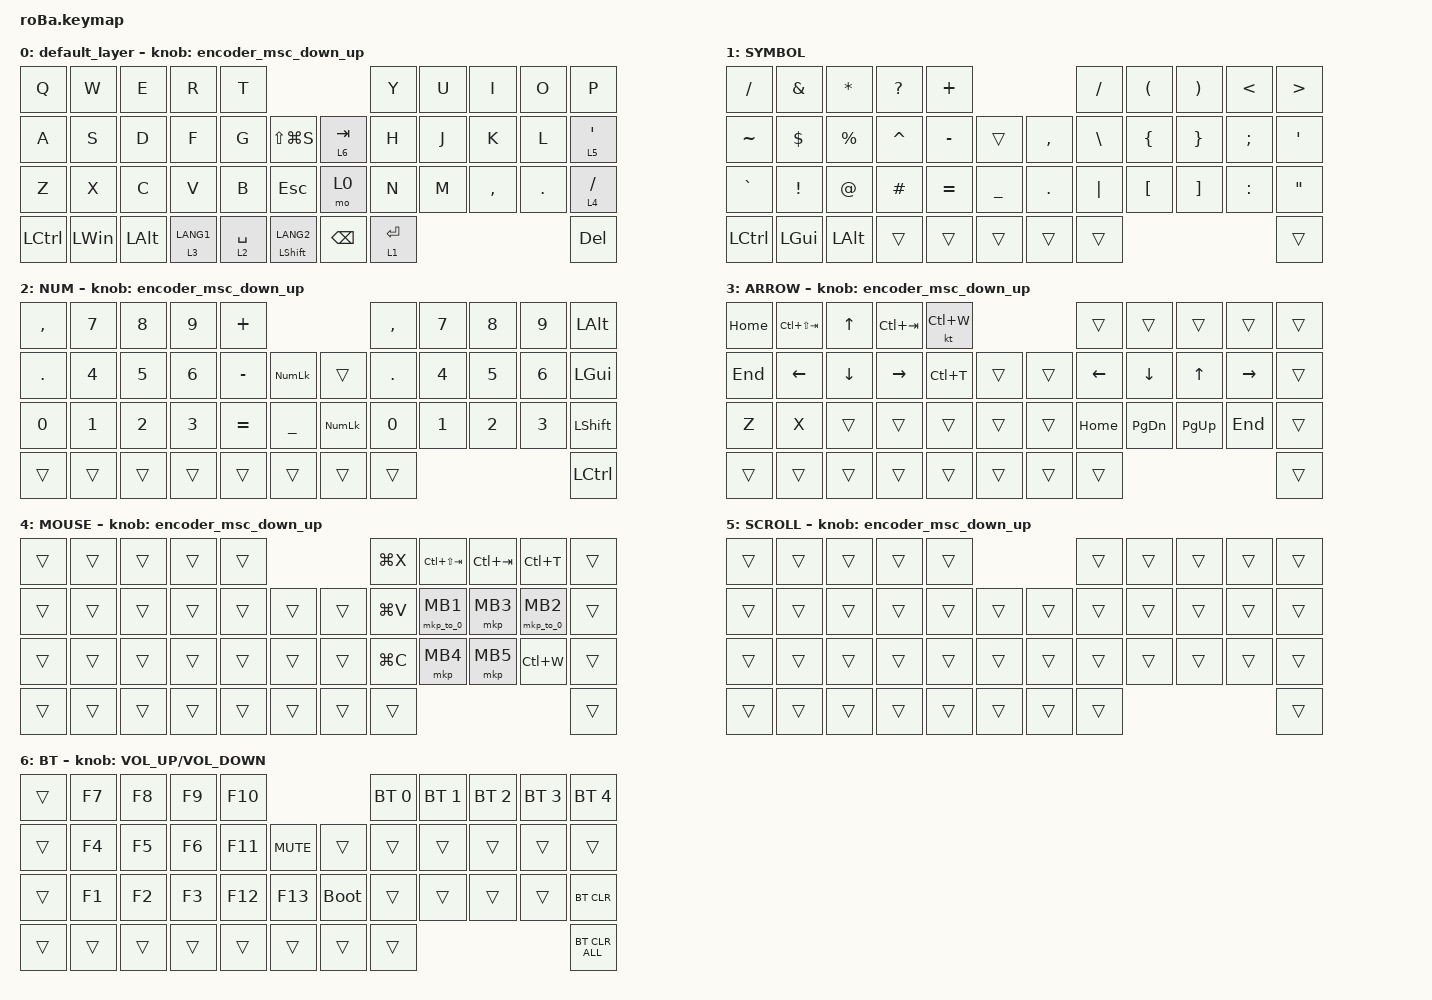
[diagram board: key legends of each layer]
#include <behaviors.dtsi>
#include <dt-bindings/zmk/bt.h>
#include <dt-bindings/zmk/keys.h>
#include <dt-bindings/zmk/pointing.h>

// スクロール量

#define ZMK_POINTING_DEFAULT_SCRL_VAL 80

&mt {
    flavor = "balanced";
    quick-tap-ms = <0>;
};

&trackball {
    automouse-layer = <4>;
    scroll-layers = <5>;

    // arrows {
    //     layers = <3>;
    //     bindings =
    //         <&kp RIGHT_ARROW>,
    //         <&kp LEFT_ARROW>,
    //         <&kp UP_ARROW>,
    //         <&kp DOWN_ARROW>;
    //     tick = <10>;
    //     wait-ms = <5>;
    //     tap-ms = <5>;
    // };
};

/ {
    combos { compatible = "zmk,combos"; };

    macros {
        to_layer_0: to_layer_0 {
            compatible = "zmk,behavior-macro-one-param";
            #binding-cells = <1>;
            bindings = <&to 0 &macro_param_1to1 &kp MACRO_PLACEHOLDER>;
            label = "TO_LAYER_0";
        };

        // マウスボタンを押している間は押し続け、離すとレイヤー0に戻るマクロ

        mkp_to_0: mkp_to_0 {
            compatible = "zmk,behavior-macro-one-param";
            #binding-cells = <1>;
            bindings =
                <&macro_press>,
                <&macro_param_1to1 &mkp MACRO_PLACEHOLDER>,
                <&macro_pause_for_release>,
                <&macro_release>,
                <&macro_param_1to1 &mkp MACRO_PLACEHOLDER>,
                <&macro_tap>,
                <&sl 4>;

            // 離した後にレイヤー0へ

            label = "MOUSE_CLICK_TO_0";
        };
    };

    behaviors {
        lt_to_layer_0: lt_to_layer_0 {
            compatible = "zmk,behavior-hold-tap";
            label = "LAYER_TAP_TO_0";
            bindings = <&mo>, <&to_layer_0>;

            #binding-cells = <2>;
            tapping-term-ms = <200>;
        };

        encoder_msc_down_up: encoder_msc_down_up {
            compatible = "zmk,behavior-sensor-rotate";
            label = "ENCODER_MSC_DOWN_UP";
            #sensor-binding-cells = <0>;
            bindings = <&msc SCRL_DOWN>, <&msc SCRL_UP>;

            tap-ms = <20>;
        };
    };

    keymap {
        compatible = "zmk,keymap";

        default_layer {
            bindings = <
&kp Q      &kp W         &kp E         &kp R                   &kp T                                                        &kp Y        &kp U  &kp I      &kp O    &kp P
&kp A      &kp S         &kp D         &kp F                   &kp G        &kp LS(LG(S))             &lt_to_layer_0 6 TAB  &kp H        &kp J  &kp K      &kp L    &lt_to_layer_0 5 SINGLE_QUOTE
&kp Z      &kp X         &kp C         &kp V                   &kp B        &kp ESC                   &mo 0                 &kp N        &kp M  &kp COMMA  &kp DOT  &lt_to_layer_0 4 SLASH
&kp LCTRL  &kp LEFT_WIN  &kp LEFT_ALT  &lt_to_layer_0 3 LANG1  &lt 2 SPACE  &mt LEFT_SHIFT LANG2      &kp BACKSPACE         &lt 1 ENTER                             &kp DEL
            >;

            sensor-bindings = <&encoder_msc_down_up>;
        };

        SYMBOL {
            bindings = <
&kp SLASH  &kp AMPERSAND    &kp ASTERISK  &kp QUESTION  &kp PLUS                                   &kp SLASH      &kp LEFT_PARENTHESIS  &kp RIGHT_PARENTHESIS  &kp LESS_THAN  &kp GREATER_THAN
&kp TILDE  &kp DOLLAR       &kp PERCENT   &kp CARET     &kp MINUS  &trans              &kp COMMA   &kp BACKSLASH  &kp LEFT_BRACE        &kp RIGHT_BRACE        &kp SEMICOLON  &kp SINGLE_QUOTE
&kp GRAVE  &kp EXCLAMATION  &kp AT_SIGN   &kp HASH      &kp EQUAL  &kp UNDERSCORE      &kp PERIOD  &kp PIPE       &kp LEFT_BRACKET      &kp RIGHT_BRACKET      &kp COLON      &kp DOUBLE_QUOTES
&kp LCTRL  &kp LEFT_GUI     &kp LEFT_ALT  &trans        &trans     &trans              &trans      &trans                                                                     &trans
            >;
        };

        NUM {
            bindings = <
&kp COMMA     &kp NUMBER_7  &kp NUMBER_8  &kp NUMBER_9  &kp PLUS                                       &kp COMMA     &kp NUMBER_7  &kp NUMBER_8  &kp NUMBER_9  &kp LEFT_ALT
&kp PERIOD    &kp NUMBER_4  &kp NUMBER_5  &kp NUMBER_6  &kp MINUS  &kp KP_NUMLOCK      &trans          &kp PERIOD    &kp NUMBER_4  &kp NUMBER_5  &kp NUMBER_6  &kp LEFT_GUI
&kp NUMBER_0  &kp NUMBER_1  &kp NUMBER_2  &kp NUMBER_3  &kp EQUAL  &kp UNDERSCORE      &kp KP_NUMLOCK  &kp NUMBER_0  &kp NUMBER_1  &kp NUMBER_2  &kp NUMBER_3  &kp LEFT_SHIFT
&trans        &trans        &trans        &trans        &trans     &trans              &trans          &trans                                                  &kp LCTRL
            >;

            sensor-bindings = <&encoder_msc_down_up>;
        };

        ARROW {
            bindings = <
&kp HOME  &kp LC(LS(TAB))  &kp UP_ARROW    &kp LC(TAB)      &kt LC(W)                      &trans          &trans          &trans        &trans           &trans
&kp END   &kp LEFT_ARROW   &kp DOWN_ARROW  &kp RIGHT_ARROW  &kp LC(T)  &trans      &trans  &kp LEFT_ARROW  &kp DOWN_ARROW  &kp UP_ARROW  &kp RIGHT_ARROW  &trans
&kp Z     &kp X            &trans          &trans           &trans     &trans      &trans  &kp HOME        &kp PAGE_DOWN   &kp PG_UP     &kp END          &trans
&trans    &trans           &trans          &trans           &trans     &trans      &trans  &trans                                                         &trans
            >;

            sensor-bindings = <&encoder_msc_down_up>;
        };

        MOUSE {
            bindings = <
&trans  &trans  &trans  &trans  &trans                      &kp LG(X)  &kp LC(LS(TAB))  &kp LC(TAB)  &kp LC(T)      &trans
&trans  &trans  &trans  &trans  &trans  &trans      &trans  &kp LG(V)  &mkp_to_0 MB1    &mkp MB3     &mkp_to_0 MB2  &trans
&trans  &trans  &trans  &trans  &trans  &trans      &trans  &kp LG(C)  &mkp MB4         &mkp MB5     &kp LC(W)      &trans
&trans  &trans  &trans  &trans  &trans  &trans      &trans  &trans                                                  &trans
            >;

            sensor-bindings = <&encoder_msc_down_up>;
        };

        SCROLL {
            bindings = <
&trans  &trans  &trans  &trans  &trans                      &trans  &trans  &trans  &trans  &trans
&trans  &trans  &trans  &trans  &trans  &trans      &trans  &trans  &trans  &trans  &trans  &trans
&trans  &trans  &trans  &trans  &trans  &trans      &trans  &trans  &trans  &trans  &trans  &trans
&trans  &trans  &trans  &trans  &trans  &trans      &trans  &trans                          &trans
            >;

            sensor-bindings = <&encoder_msc_down_up>;
        };

        BT {
            bindings = <
&trans  &kp F7  &kp F8  &kp F9  &kp F10                               &bt BT_SEL 0  &bt BT_SEL 1  &bt BT_SEL 2  &bt BT_SEL 3  &bt BT_SEL 4
&trans  &kp F4  &kp F5  &kp F6  &kp F11  &kp K_MUTE      &trans       &trans        &trans        &trans        &trans        &trans
&trans  &kp F1  &kp F2  &kp F3  &kp F12  &kp F13         &bootloader  &trans        &trans        &trans        &trans        &bt BT_CLR
&trans  &trans  &trans  &trans  &trans   &trans          &trans       &trans                                                  &bt BT_CLR_ALL
            >;

            sensor-bindings = <&inc_dec_kp C_VOLUME_UP C_VOLUME_DOWN>;
        };
    };
};
